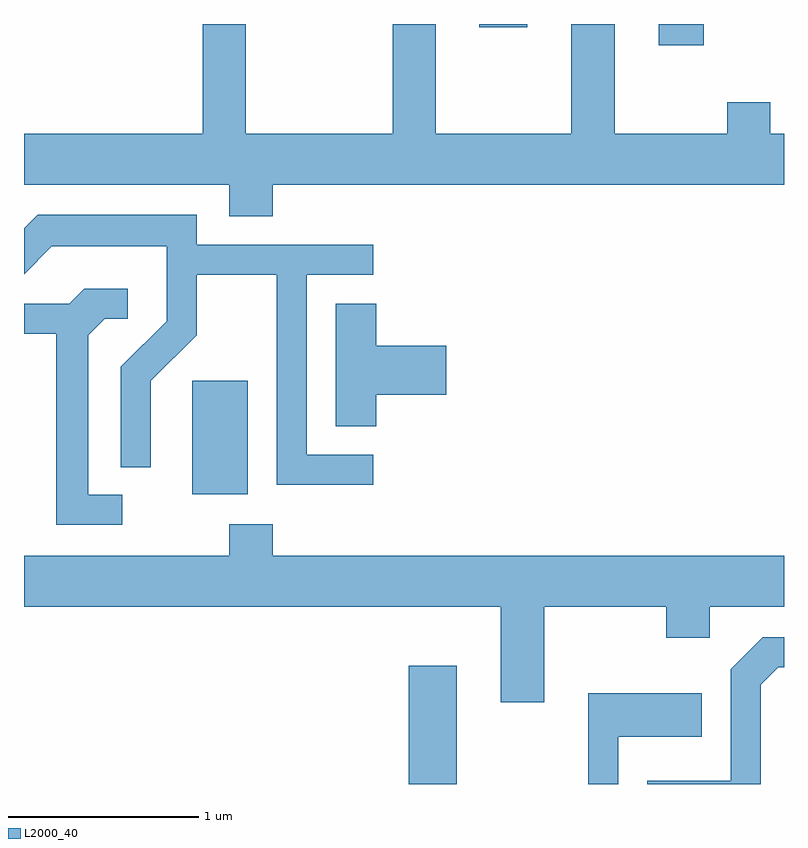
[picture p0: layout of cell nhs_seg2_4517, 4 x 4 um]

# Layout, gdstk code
import gdstk
lib = gdstk.Library(unit=1e-6, precision=1e-09)
def R(c, l, rs):  # rectangles x0, y0, x1, y1
    for r in rs: c.add(gdstk.rectangle(r[:2], r[2:], *l))
def P(c, l, *ps):  # polygons
    for p in ps: c.add(gdstk.Polygon(p, *l))
L2000_40 = (2000, 40)

nhs_seg2_4517 = lib.new_cell('nhs_seg2_4517')
R(nhs_seg2_4517, L2000_40, [(319.636,1071.802,319.889,1072.424), (318.496,1073.326,318.789,1073.924), (320.951,1075.691,321.188,1075.802), (320.006,1075.786,320.259,1075.802)])
P(nhs_seg2_4517, L2000_40, [(318.919,1074.956),(321.611,1074.956),(321.611,1075.224),(321.539,1075.224),(321.539,1075.389),(321.311,1075.389),(321.311,1075.224),(320.719,1075.224),(320.719,1075.802),(320.491,1075.802),(320.491,1075.224),(319.779,1075.224),(319.779,1075.802),(319.551,1075.802),(319.551,1075.224),(318.779,1075.224),(318.779,1075.802),(318.551,1075.802),(318.551,1075.224),(317.611,1075.224),(317.611,1074.956),(318.691,1074.956),(318.691,1074.791),(318.919,1074.791)],
  [(319.448,1073.534),(319.099,1073.534),(319.099,1074.481),(319.448,1074.481),(319.448,1074.639),(318.519,1074.639),(318.519,1074.799),(317.684,1074.799),(317.611,1074.726),(317.611,1074.485),(317.757,1074.631),(318.361,1074.631),(318.361,1074.237),(318.121,1073.997),(318.121,1073.468),(318.279,1073.468),(318.279,1073.924),(318.519,1074.164),(318.519,1074.481),(318.941,1074.481),(318.941,1073.376),(319.448,1073.376)],
  [(318.128,1073.324),(317.949,1073.324),(317.949,1074.164),(318.037,1074.251),(318.158,1074.251),(318.158,1074.409),(317.929,1074.409),(317.849,1074.329),(317.611,1074.329),(317.611,1074.171),(317.781,1074.171),(317.781,1073.166),(318.128,1073.166)],
  [(319.464,1073.851),(319.834,1073.851),(319.834,1074.109),(319.464,1074.109),(319.464,1074.329),(319.251,1074.329),(319.251,1073.686),(319.464,1073.686)],
  [(320.349,1072.736),(320.991,1072.736),(320.991,1072.571),(321.219,1072.571),(321.219,1072.736),(321.611,1072.736),(321.611,1073.004),(318.919,1073.004),(318.919,1073.169),(318.691,1073.169),(318.691,1073.004),(317.611,1073.004),(317.611,1072.736),(320.121,1072.736),(320.121,1072.231),(320.349,1072.231)],
  [(321.489,1072.324),(321.582,1072.416),(321.611,1072.416),(321.611,1072.574),(321.499,1072.574),(321.331,1072.407),(321.331,1071.819),(320.891,1071.819),(320.891,1071.802),(321.489,1071.802)],
  [(320.739,1072.051),(321.179,1072.051),(321.179,1072.279),(320.581,1072.279),(320.581,1071.802),(320.739,1071.802)])

lib.write_gds('nhs_seg2_4517.gds')
